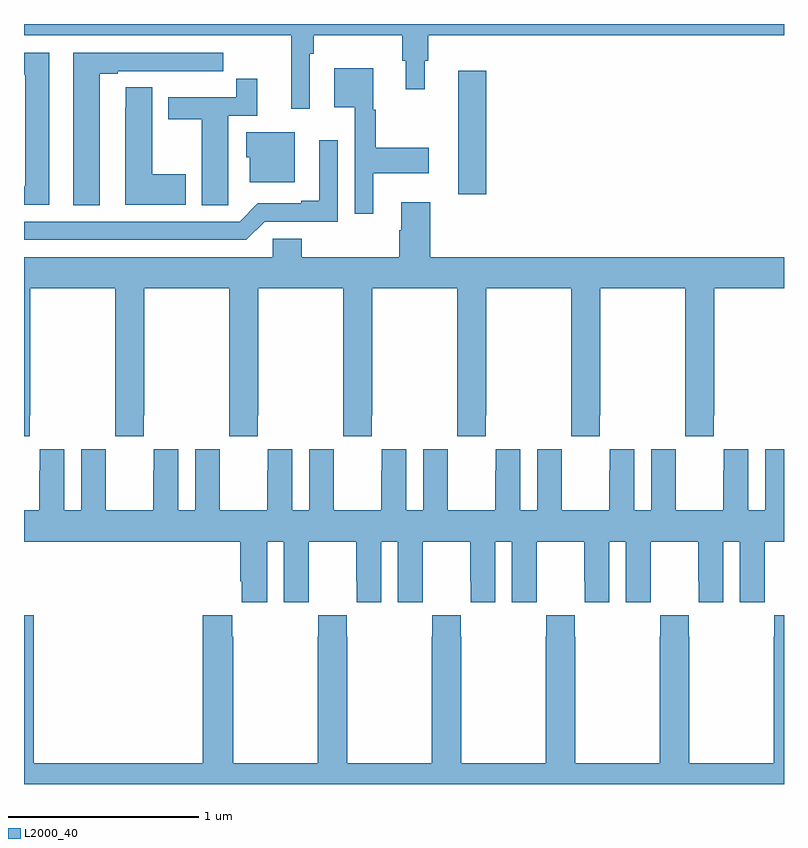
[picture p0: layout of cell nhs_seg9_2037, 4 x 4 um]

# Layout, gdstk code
import gdstk
lib = gdstk.Library(unit=1e-6, precision=1e-09)
def R(c, l, rs):  # rectangles x0, y0, x1, y1
    for r in rs: c.add(gdstk.rectangle(r[:2], r[2:], *l))
def P(c, l, *ps):  # polygons
    for p in ps: c.add(gdstk.Polygon(p, *l))
L2000_40 = (2000, 40)

nhs_seg9_2037 = lib.new_cell('nhs_seg9_2037')
R(nhs_seg9_2037, L2000_40, [(229.286,1175.604,229.433,1176.253)])
P(nhs_seg9_2037, L2000_40, [(228.504,1176.344),(228.524,1176.344),(228.524,1176.44),(228.991,1176.44),(228.991,1176.306),(229.01,1176.306),(229.01,1176.156),(229.108,1176.156),(229.108,1176.306),(229.127,1176.306),(229.127,1176.44),(231,1176.44),(231,1176.5),(227,1176.5),(227,1176.44),(228.407,1176.44),(228.407,1176.054),(228.504,1176.054)],
  [(227.134,1176.348),(227,1176.348),(227,1176.232),(227.006,1176.232),(227.006,1175.646),(227,1175.646),(227,1175.55),(227.134,1175.55)],
  [(227.398,1176.237),(227.494,1176.237),(227.494,1176.252),(227.77,1176.252),(227.77,1176.251),(227.936,1176.251),(227.936,1176.252),(228.049,1176.252),(228.049,1176.348),(227.258,1176.348),(227.258,1175.545),(227.398,1175.545)],
  [(228.838,1175.714),(229.129,1175.714),(229.129,1175.849),(228.85,1175.849),(228.85,1176.048),(228.838,1176.048),(228.838,1176.268),(228.632,1176.268),(228.632,1176.062),(228.741,1176.062),(228.741,1175.502),(228.838,1175.502)],
  [(228.075,1175.656),(228.076,1175.656),(228.076,1176.018),(228.227,1176.018),(228.227,1176.211),(228.118,1176.211),(228.118,1176.114),(227.759,1176.114),(227.759,1175.998),(227.936,1175.998),(227.936,1175.545),(228.075,1175.545)],
  [(227.851,1175.709),(227.674,1175.709),(227.674,1176.167),(227.535,1176.167),(227.535,1176.059),(227.534,1176.059),(227.534,1175.549),(227.851,1175.549)],
  [(228.424,1175.929),(228.17,1175.929),(228.17,1175.799),(228.188,1175.799),(228.188,1175.666),(228.424,1175.666)],
  [(228.267,1175.46),(228.651,1175.46),(228.651,1175.887),(228.554,1175.887),(228.554,1175.569),(228.458,1175.569),(228.458,1175.556),(228.231,1175.556),(228.135,1175.46),(227,1175.46),(227,1175.364),(228.171,1175.364)],
  [(229.139,1175.563),(228.986,1175.563),(228.986,1175.414),(228.974,1175.414),(228.974,1175.272),(228.461,1175.272),(228.461,1175.37),(228.309,1175.37),(228.309,1175.272),(227,1175.272),(227,1174.329),(227.031,1174.329),(227.031,1174.441),(227.034,1174.441),(227.034,1175.108),(227.479,1175.108),(227.479,1174.441),(227.481,1174.441),(227.481,1174.329),(227.631,1174.329),(227.631,1174.441),(227.634,1174.441),(227.634,1175.108),(228.079,1175.108),(228.079,1174.441),(228.081,1174.441),(228.081,1174.329),(228.231,1174.329),(228.231,1174.441),(228.234,1174.441),(228.234,1175.108),(228.679,1175.108),(228.679,1174.441),(228.681,1174.441),(228.681,1174.329),(228.831,1174.329),(228.831,1174.441),(228.834,1174.441),(228.834,1175.108),(229.279,1175.108),(229.279,1174.441),(229.281,1174.441),(229.281,1174.329),(229.431,1174.329),(229.431,1174.441),(229.434,1174.441),(229.434,1175.108),(229.879,1175.108),(229.879,1174.441),(229.881,1174.441),(229.881,1174.329),(230.031,1174.329),(230.031,1174.441),(230.034,1174.441),(230.034,1175.108),(230.479,1175.108),(230.479,1174.441),(230.481,1174.441),(230.481,1174.329),(230.631,1174.329),(230.631,1174.441),(230.634,1174.441),(230.634,1175.108),(231,1175.108),(231,1175.272),(229.139,1175.272)],
  [(229.831,1174.148),(229.83,1174.148),(229.83,1174.261),(229.7,1174.261),(229.7,1173.94),(229.612,1173.94),(229.612,1174.261),(229.482,1174.261),(229.482,1174.148),(229.481,1174.148),(229.481,1173.94),(229.231,1173.94),(229.231,1174.148),(229.23,1174.148),(229.23,1174.261),(229.1,1174.261),(229.1,1173.94),(229.012,1173.94),(229.012,1174.261),(228.882,1174.261),(228.882,1174.148),(228.881,1174.148),(228.881,1173.94),(228.631,1173.94),(228.631,1174.148),(228.63,1174.148),(228.63,1174.261),(228.5,1174.261),(228.5,1173.94),(228.412,1173.94),(228.412,1174.261),(228.282,1174.261),(228.282,1174.148),(228.281,1174.148),(228.281,1173.94),(228.031,1173.94),(228.031,1174.148),(228.03,1174.148),(228.03,1174.261),(227.9,1174.261),(227.9,1173.94),(227.812,1173.94),(227.812,1174.261),(227.682,1174.261),(227.682,1174.148),(227.681,1174.148),(227.681,1173.94),(227.431,1173.94),(227.431,1174.148),(227.43,1174.148),(227.43,1174.261),(227.3,1174.261),(227.3,1173.94),(227.212,1173.94),(227.212,1174.261),(227.082,1174.261),(227.082,1174.148),(227.081,1174.148),(227.081,1173.94),(227,1173.94),(227,1173.776),(228.137,1173.776),(228.137,1173.568),(228.146,1173.568),(228.146,1173.456),(228.28,1173.456),(228.28,1173.776),(228.368,1173.776),(228.368,1173.456),(228.498,1173.456),(228.498,1173.568),(228.499,1173.568),(228.499,1173.776),(228.749,1173.776),(228.749,1173.568),(228.75,1173.568),(228.75,1173.456),(228.88,1173.456),(228.88,1173.776),(228.968,1173.776),(228.968,1173.456),(229.098,1173.456),(229.098,1173.568),(229.099,1173.568),(229.099,1173.776),(229.349,1173.776),(229.349,1173.568),(229.35,1173.568),(229.35,1173.456),(229.48,1173.456),(229.48,1173.776),(229.568,1173.776),(229.568,1173.456),(229.698,1173.456),(229.698,1173.568),(229.699,1173.568),(229.699,1173.776),(229.949,1173.776),(229.949,1173.568),(229.95,1173.568),(229.95,1173.456),(230.08,1173.456),(230.08,1173.776),(230.168,1173.776),(230.168,1173.456),(230.298,1173.456),(230.298,1173.568),(230.299,1173.568),(230.299,1173.776),(230.549,1173.776),(230.549,1173.568),(230.55,1173.568),(230.55,1173.456),(230.68,1173.456),(230.68,1173.776),(230.768,1173.776),(230.768,1173.456),(230.898,1173.456),(230.898,1173.568),(230.899,1173.568),(230.899,1173.776),(231,1173.776),(231,1174.261),(230.9,1174.261),(230.9,1173.94),(230.812,1173.94),(230.812,1174.261),(230.682,1174.261),(230.682,1174.148),(230.681,1174.148),(230.681,1173.94),(230.431,1173.94),(230.431,1174.148),(230.43,1174.148),(230.43,1174.261),(230.3,1174.261),(230.3,1173.94),(230.212,1173.94),(230.212,1174.261),(230.082,1174.261),(230.082,1174.148),(230.081,1174.148),(230.081,1173.94),(229.831,1173.94)],
  [(231,1173.388),(230.949,1173.388),(230.949,1173.275),(230.947,1173.275),(230.947,1172.608),(230.502,1172.608),(230.502,1173.275),(230.499,1173.275),(230.499,1173.388),(230.349,1173.388),(230.349,1173.275),(230.347,1173.275),(230.347,1172.608),(229.902,1172.608),(229.902,1173.275),(229.899,1173.275),(229.899,1173.388),(229.749,1173.388),(229.749,1173.275),(229.747,1173.275),(229.747,1172.608),(229.302,1172.608),(229.302,1173.275),(229.299,1173.275),(229.299,1173.388),(229.149,1173.388),(229.149,1173.275),(229.147,1173.275),(229.147,1172.608),(228.702,1172.608),(228.702,1173.275),(228.699,1173.275),(228.699,1173.388),(228.549,1173.388),(228.549,1173.275),(228.547,1173.275),(228.547,1172.608),(228.102,1172.608),(228.102,1173.275),(228.095,1173.275),(228.095,1173.388),(227.942,1173.388),(227.942,1172.608),(227.051,1172.608),(227.051,1173.388),(227,1173.388),(227,1172.5),(231,1172.5)])

lib.write_gds('nhs_seg9_2037.gds')
